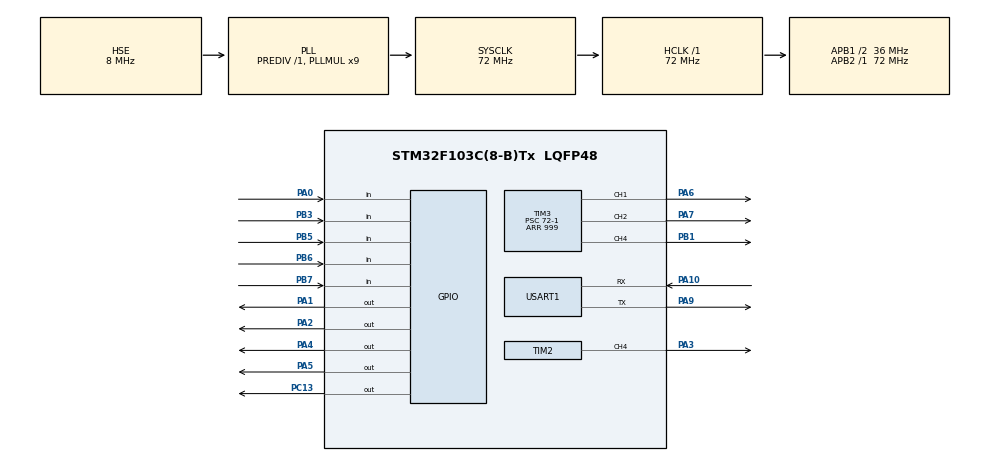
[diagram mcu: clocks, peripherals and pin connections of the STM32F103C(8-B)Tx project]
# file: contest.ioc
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Dma.Request0=USART1_RX
Dma.Request1=USART1_TX
Dma.USART1_RX.0.Direction=DMA_PERIPH_TO_MEMORY
Dma.USART1_RX.0.Instance=DMA1_Channel5
Dma.USART1_RX.0.MemDataAlignment=DMA_MDATAALIGN_BYTE
Dma.USART1_RX.0.MemInc=DMA_MINC_ENABLE
Dma.USART1_RX.0.Mode=DMA_CIRCULAR
Dma.USART1_RX.0.PeriphDataAlignment=DMA_PDATAALIGN_BYTE
Dma.USART1_RX.0.PeriphInc=DMA_PINC_DISABLE
Dma.USART1_RX.0.Priority=DMA_PRIORITY_LOW
Dma.USART1_TX.1.Direction=DMA_MEMORY_TO_PERIPH
Dma.USART1_TX.1.Instance=DMA1_Channel4
Dma.USART1_TX.1.MemDataAlignment=DMA_MDATAALIGN_BYTE
Dma.USART1_TX.1.MemInc=DMA_MINC_ENABLE
Dma.USART1_TX.1.Mode=DMA_NORMAL
Dma.USART1_TX.1.PeriphDataAlignment=DMA_PDATAALIGN_BYTE
Dma.USART1_TX.1.PeriphInc=DMA_PINC_DISABLE
Dma.USART1_TX.1.Priority=DMA_PRIORITY_LOW
Mcu.Family=STM32F1
Mcu.Name=STM32F103C(8-B)Tx
Mcu.Package=LQFP48
NVIC.DMA1_Channel4_IRQn=true\:0\:0\:false\:false\:true\:false\:true\:true
NVIC.DMA1_Channel5_IRQn=true\:0\:0\:false\:false\:true\:false\:true\:true
NVIC.PriorityGroup=NVIC_PRIORITYGROUP_4
NVIC.TIM2_IRQn=true\:0\:0\:false\:false\:true\:true\:true\:true
NVIC.TIM3_IRQn=true\:0\:0\:false\:false\:true\:true\:true\:true
NVIC.TIM4_IRQn=true\:15\:0\:false\:false\:true\:false\:true\:true
NVIC.TimeBase=TIM4_IRQn
NVIC.TimeBaseIP=TIM4
NVIC.USART1_IRQn=true\:0\:0\:false\:false\:true\:true\:true\:true
PA0-WKUP.GPIO_PuPd=GPIO_PULLUP
PA0-WKUP.Signal=GPIO_Input
PA1.GPIO_Speed=GPIO_SPEED_FREQ_HIGH
PA1.PinState=GPIO_PIN_SET
PA1.Signal=GPIO_Output
PA10.Mode=Asynchronous
PA10.Signal=USART1_RX
PA13.Mode=Serial_Wire
PA13.Signal=SYS_JTMS-SWDIO
PA14.Mode=Serial_Wire
PA14.Signal=SYS_JTCK-SWCLK
PA2.GPIO_Speed=GPIO_SPEED_FREQ_HIGH
PA2.PinState=GPIO_PIN_SET
PA2.Signal=GPIO_Output
PA3.Signal=S_TIM2_CH4
PA4.GPIO_Speed=GPIO_SPEED_FREQ_HIGH
PA4.PinState=GPIO_PIN_SET
PA4.Signal=GPIO_Output
PA5.GPIO_Speed=GPIO_SPEED_FREQ_HIGH
PA5.PinState=GPIO_PIN_SET
PA5.Signal=GPIO_Output
PA6.Signal=S_TIM3_CH1
PA7.Signal=S_TIM3_CH2
PA9.Mode=Asynchronous
PA9.Signal=USART1_TX
PB1.Signal=S_TIM3_CH4
PB3.GPIO_PuPd=GPIO_PULLDOWN
PB3.Signal=GPIO_Input
PB5.GPIO_PuPd=GPIO_PULLDOWN
PB5.Signal=GPIO_Input
PB6.GPIO_PuPd=GPIO_PULLDOWN
PB6.Signal=GPIO_Input
PB7.GPIO_PuPd=GPIO_PULLDOWN
PB7.Signal=GPIO_Input
PC13-TAMPER-RTC.PinState=GPIO_PIN_SET
PC13-TAMPER-RTC.Signal=GPIO_Output
PC14-OSC32_IN.Mode=LSE-External-Oscillator
PC14-OSC32_IN.Signal=RCC_OSC32_IN
PC15-OSC32_OUT.Mode=LSE-External-Oscillator
PC15-OSC32_OUT.Signal=RCC_OSC32_OUT
PD0-OSC_IN.Mode=HSE-External-Oscillator
PD0-OSC_IN.Signal=RCC_OSC_IN
PD1-OSC_OUT.Mode=HSE-External-Oscillator
PD1-OSC_OUT.Signal=RCC_OSC_OUT
ProjectManager.HeapSize=0x200
ProjectManager.StackSize=0x400
ProjectManager.TargetToolchain=MDK-ARM V5.32
RCC.AHBFreq_Value=72000000
RCC.APB1CLKDivider=RCC_HCLK_DIV2
RCC.APB1Freq_Value=36000000
RCC.APB1TimFreq_Value=72000000
RCC.APB2Freq_Value=72000000
RCC.APB2TimFreq_Value=72000000
RCC.HCLKFreq_Value=72000000
RCC.PLLMUL=RCC_PLL_MUL9
RCC.PLLSourceVirtual=RCC_PLLSOURCE_HSE
RCC.SYSCLKFreq_VALUE=72000000
RCC.SYSCLKSource=RCC_SYSCLKSOURCE_PLLCLK
RCC.USBFreq_Value=72000000
SH.S_TIM2_CH4.0=TIM2_CH4,PWM Generation4 CH4
SH.S_TIM3_CH1.0=TIM3_CH1,PWM Generation1 CH1
SH.S_TIM3_CH2.0=TIM3_CH2,PWM Generation2 CH2
SH.S_TIM3_CH4.0=TIM3_CH4,PWM Generation4 CH4
TIM2.AutoReloadPreload=TIM_AUTORELOAD_PRELOAD_DISABLE
TIM2.Channel-PWM\ Generation4\ CH4=TIM_CHANNEL_4
TIM2.Period=999
TIM2.Prescaler=71
TIM2.Pulse-PWM\ Generation4\ CH4=500
TIM3.AutoReloadPreload=TIM_AUTORELOAD_PRELOAD_DISABLE
TIM3.Channel-PWM\ Generation1\ CH1=TIM_CHANNEL_1
TIM3.Channel-PWM\ Generation2\ CH2=TIM_CHANNEL_2
TIM3.Channel-PWM\ Generation4\ CH4=TIM_CHANNEL_4
TIM3.Period=999
TIM3.Prescaler=72-1
TIM3.Pulse-PWM\ Generation4\ CH4=500
USART1.VirtualMode=VM_ASYNC
VP_SYS_VS_tim4.Mode=TIM4
VP_TIM2_VS_ClockSourceINT.Mode=Internal
VP_TIM3_VS_ClockSourceINT.Mode=Internal
board=custom

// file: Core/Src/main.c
/* USER CODE BEGIN Header */
/**
  ******************************************************************************
  * @file           : main.c
  * @brief          : Main program body
  ******************************************************************************
  * @attention
  *
  * Copyright (c) 2025 STMicroelectronics.
  * All rights reserved.
  *
  * This software is licensed under terms that can be found in the LICENSE file
  * in the root directory of this software component.
  * If no LICENSE file comes with this software, it is provided AS-IS.
  *
  ******************************************************************************
  */
/* USER CODE END Header */
#include "main.h"
#include "dma.h"
#include "tim.h"
#include "usart.h"
#include "gpio.h"

/* USER CODE BEGIN Includes */
#include "global.h"
#include "FreeRTOSConfig.h"
#include "FreeRTOS.h"
#include "task.h"
#include "semphr.h"
#include <stdio.h>
#include "math.h"
#include <stdarg.h>
#include <string.h>
#include "filter.h"
#include "servo.h"
#include "stm32f1xx_hal.h"
#include "oled.h"
#include "usart.h"
#include "mpu6050.h"
#include "imu.h"
#include "motor.h"
#include "pid.h"
#include "mutex_lock_and_message_queue.h"
#include "data_protocol.h"
#include "eletube.h"
#include "timer.h"
#include <stdbool.h>
#include "keys.h"

/* USER CODE END Includes */

/* USER CODE BEGIN PV */

// 定义机器人状态互斥锁实例
CustomMutex_t robot_state_mutex = {
    .locked = 0,
    .owner = NULL,
    .name = "robot_state_mutex",
    .lock_count = 0
};

// 定义导航指令消息队列（缓冲区大小为5个消息）
NavCmd_t nav_queue_buffer[NAV_QUEUE_SIZE];  // 消息缓冲区
CustomQueue_t nav_cmd_queue;                // 导航指令队列实例

/* USER CODE END PV */

void SystemClock_Config(void);
/* USER CODE BEGIN PFP */
void debug_printf(const char *fmt, ...);
/* USER CODE END PFP */

/* USER CODE BEGIN 0 */

TaskHandle_t  led1_TaskHandle_t;
TaskHandle_t  led2_TaskHandle_t;
TaskHandle_t  filter_TaskHandle_t;
TaskHandle_t  servo_TaskHandle_t;
TaskHandle_t  oled_TaskHandle_t;
TaskHandle_t  usart_TaskHandle_t;
TaskHandle_t  mpu6050_TaskHandle_t;
TaskHandle_t  motor_TaskHandle_t;
TaskHandle_t  decision_TaskHandle_t;
TaskHandle_t  state_update_TaskHandle_t;
TaskHandle_t  openmv_TaskHandle_t;
TaskHandle_t  eletube_TaskHandle_t;
TaskHandle_t  debug_send_TaskHandle_t;

/* 在全局变量区域添加 */
//SemaphoreHandle_t xSensorMutex;  // 传感器数据互斥锁
//float pitch, roll, yaw;
//RobotState_t g_robot_state = {0};
//SemaphoreHandle_t xStateMutex;

//void led1_task() {
//	while(1){
//		HAL_GPIO_TogglePin(GPIOA, GPIO_PIN_8);
//		vTaskDelay(1000);
//	}
//}

//void led2_task(){
//	while(1){
//		HAL_GPIO_TogglePin(GPIOA, GPIO_PIN_15);
//		vTaskDelay(2000);
//	}
//}

//Filter_t Data_Filter = {0.8,0,0};

//AVG_Flt_t AVG_Filter;

//MEDIAN_Flt_t MEDIAN_Filter;

////FIR_Flt_t FIR_Filter;

//Klm_Flt_t KLM_Filter =
//{
//	0.02,//估算协方差
//	0,//卡尔曼增益
//	0.001,//过程噪声协方差，Q增大，动态响应变快，收敛稳定性变坏
//	0.1,//测量噪声协方差，R增大，动态响应变慢，收敛稳定性变好
//	0//卡尔曼滤波输出
//};

//double Data;
//double Result;
//double t;
//double Test;

//void filter_task(){
//	//低通滤波测试
//	while(1){
//		Data = sin(t)+0.1*sin(50*t);
//		Result = Low_Pass_Filter(&Data_Filter,Data);
//		t+=0.01;
//		while(huart1.gState != HAL_UART_STATE_READY) {
//			vTaskDelay(1); // 在FreeRTOS中让出CPU
//		}
//	debug_printf("%.3f,%.3f\n",Data,Result);
//		vTaskDelay(50);
//	}
//

//	//滑动均值滤波测试
//	while(1){
//		Data = sin(t)+0.1*sin(50*t);
////		Data = sin(t);
////		if((int)(t*100)%100 == 0){
////			Data = sin(t) + 2 * sin(50 * t);
////		}
//		Result = Average_Filter(&AVG_Filter,Data);
//		t += 0.01;
//		debug_printf("%.3f,%.3f\n",Data,Result);
//		vTaskDelay(50);
//	}

////中值滤波测试
//while(1){
////		Data = sin(t) + 0.1 * sin(50 * t);
//		Data = sin(t);
//		if((int)(t*100)%100 == 0){
//			Data = sin(t) + 2 * sin(50 * t);
//		}
//		Result = Median_Filter(&MEDIAN_Filter,Data);
//		t += 0.01;
//		debug_printf("%.3f,%.3f\n",Data,Result);
//		vTaskDelay(50);
//	}

////带通滤波测试
//FIR_Filter.Fs = 10000;
//FIR_Filter.Fc1 = 500;
//FIR_Filter.Fc2 = 1500;
//FIRBandPassFilter_Init(&FIR_Filter);
//while(1){
//	Data = sin(2000*PI*t)+sin(4000*PI*t);
//	Test = sin(2000*PI*t);
//	Result = FIR_BandPass_Filter(&FIR_Filter,Data);
//	t += 0.01;
//	debug_printf("%.3f,%.3f\n",Data,Result);
//	vTaskDelay(50);
//}

////卡尔曼滤波测试
//while(1){
//	Data = sin(200*PI*t)+sin(2000*PI*t)+sin(4000*PI*t);
//	Test = sin(2000*PI*t);
//	Result = Median_Filter(&MEDIAN_Filter,Data);
//	t += 0.0001;
////	debug_printf("%.3f,%.3f\n",Data,Result);
//	vTaskDelay(50);
//	}

//}

//SystemState current_state = STATE_IDLE;
//void servo_task(){
//
//		// 启动PWM
//		HAL_TIM_PWM_Start(&htim3, TIM_CHANNEL_1);
//		HAL_TIM_PWM_Start(&htim3, TIM_CHANNEL_2);
//
//		// 初始复位
//		Reset_Position();
//
//    while(1) {
//			switch (current_state) {
//      case STATE_RESET:
//        Reset_Position();
//        current_state = STATE_IDLE;
//        break;
//
//      case STATE_SQUARE_MOVE:
//        Move_Square_Path();
//        current_state = STATE_IDLE;
//        break;
//
//      case STATE_CUSTOM_PATH:
//        // 此处添加自定义路径数据
//        // Move_Custom_Path(custom_path, path_points);
//        current_state = STATE_IDLE;
//        break;
//
//      case STATE_IDLE:
//      default:
//
//        vTaskDelay(100); // 调整延时控制变化速度
//			 break;
//			}
//    }
//}

///* 修改 oled_task 函数 */
//void oled_task() {
//    char displayBuffer[64];  // 显示缓冲区
//
//    while(1) {
//        // 使用互斥锁获取传感器数据
////        if(xSemaphoreTake(xSensorMutex, portMAX_DELAY) == pdTRUE) {
////            for(int i = 0; i < 3; i++) {
////                accel[i] = g_accel[i];
////                gyro[i] = g_gyro[i];
////            }
////            xSemaphoreGive(xSensorMutex);
////        }
//
//        // 清屏
//        OLED_FullyClear();
//
//        // 显示陀螺仪数据
//        snprintf(displayBuffer, sizeof(displayBuffer), "pitch:%.2f", Att_Angle.pitch);
//        OLED_ShowStr(0, 0, (unsigned char *)displayBuffer, 2);
//
//        snprintf(displayBuffer, sizeof(displayBuffer), "roll:%.2f", Att_Angle.roll);
//        OLED_ShowStr(0, 3, (unsigned char *)displayBuffer, 2);
//
//        snprintf(displayBuffer, sizeof(displayBuffer), "yaw:%.2f", Att_Angle.yaw);
//        OLED_ShowStr(0, 6, (unsigned char *)displayBuffer, 2);
//
//        vTaskDelay(200); // OLED刷新率控制
//    }
//}

void usart_task(){
	while (1){
			if(!keyflag){
				key1();
				key2();
				key3();
				key4();
			}
			vTaskDelay(10);
  }
}

int position;
int task1_cnt = 0;
uint8_t task1_path_cnt = 0;
uint8_t task1_flag = 0;
Point2D_t start,end;
Angles_t path[INTERPOLATION_STEPS];
void motor_task(void) {
    while(1) {
				if(task1_flag){
						if(!motor_x.is_moving&&!motor_y.is_moving){
							Move_Angle_Global(&motor_x,path[task1_path_cnt].yaw,1000);
							Move_Angle_Global(&motor_y,path[task1_path_cnt].pitch,1000);
							task1_path_cnt++;
						}
						if(task1_path_cnt==INTERPOLATION_STEPS)
								task1_flag = 0;
				}
				vTaskDelay(10);
    }

}

void decision_task(void) {
    while(1) {
				if(keyflag && (HAL_GPIO_ReadPin(GPIOB,GPIO_PIN_6)==GPIO_PIN_SET)){
						vTaskDelay(100);
						if(HAL_GPIO_ReadPin(GPIOB,GPIO_PIN_6)==GPIO_PIN_SET){
										if(task1_cnt==5){
												task1_cnt=0;
										}
										while(task1_cnt!=5){
											if(!motor_x.is_moving&&!motor_y.is_moving&&!task1_flag){
													task1_path_cnt = 0;
													if(task1_cnt==0){
													start.x = target_x[4];
													start.y = target_y[4];
													end.x = target_x[0];
													end.y = target_y[0];
													generate_linear_path(start,end,path);
													}else{
															start.x = target_x[task1_cnt-1];
															start.y = target_y[task1_cnt-1];
															end.x = target_x[task1_cnt];
															end.y = target_y[task1_cnt];
															generate_linear_path(start,end,path);
													}
													task1_cnt++;
													task1_flag = 1;
											}
											vTaskDelay(10);
									}
						}
				}

				vTaskDelay(10);
    }

}

//// 全局调试信息变量
//DebugInfo_t g_debug_info;
//CustomMutex_t debug_info_mutex = {.locked = 0,.owner = NULL,.name = "debug_info_mutex",.lock_count = 0};

//void debug_send_task(void) {
//    const TickType_t xPeriod = pdMS_TO_TICKS(500); // 发送周期
//    TickType_t xLastWakeTime = xTaskGetTickCount();
//
//    while(1) {
//        DebugInfo_t local_info;
//
//        // 安全复制调试信息
//        CustomMutex_Lock(&debug_info_mutex);
//        memcpy(&local_info, &g_debug_info, sizeof(DebugInfo_t));
//        CustomMutex_Unlock(&debug_info_mutex);
//
//        // 发送调试信息
//        debug_printf("%lu,%.2f,%.2f,%.2f,%.2f\n",
//                     local_info.timestamp,
//                     local_info.target_angle,
//                     local_info.current_yaw,
//                     local_info.angle_adjust,
//                     local_info.base_speed);
//
//        // 精确延迟
//        vTaskDelayUntil(&xLastWakeTime, xPeriod);
//    }
//}

/* USER CODE END 0 */

int main(void)
{

  /* MCU Configuration--------------------------------------------------------*/

  /* Reset of all peripherals, Initializes the Flash interface and the Systick. */
  HAL_Init();

  /* Configure the system clock */
  SystemClock_Config();

  /* Initialize all configured peripherals */
  MX_GPIO_Init();
  MX_DMA_Init();
  MX_USART1_UART_Init();
  MX_TIM3_Init();
  MX_TIM2_Init();
  /* USER CODE BEGIN 2 */

	// 步进电机系统初始化
//	// 初始化自定义消息队列（导航指令队列）
//CustomQueue_Init(&nav_cmd_queue,
//                nav_queue_buffer,
//                sizeof(NavCmd_t),
//                NAV_QUEUE_SIZE,
//                "nav_cmd_queue");
//
//	OLED_Init();
//	HAL_TIM_PWM_Start(&htim1, TIM_CHANNEL_1);
//	uart_init();
//	MPU6050_Init();
//	motorInit();
//	xTaskCreate((TaskFunction_t )led1_task,
//					(const char*    )"led1_task",
//					(uint16_t       )128,
//					(void*          )NULL,
//					(UBaseType_t    )1,
//					(TaskHandle_t*  )&led1_TaskHandle_t);
//	xTaskCreate((TaskFunction_t )led2_task,
//					(const char*    )"led2_task",
//					(uint16_t       )128,
//					(void*          )NULL,
//					(UBaseType_t    )1,
//					(TaskHandle_t*  )&led2_TaskHandle_t);
//	xTaskCreate((TaskFunction_t )filter_task,
//					(const char*    )"filter_task",
//					(uint16_t       )128,
//					(void*          )NULL,
//					(UBaseType_t    )1,
//					(TaskHandle_t*  )&filter_TaskHandle_t);
// 	xTaskCreate((TaskFunction_t )servo_task,
//					(const char*    )"servo_task",
//					(uint16_t       )128,
//					(void*          )NULL,
//					(UBaseType_t    )1,
//					(TaskHandle_t*  )&servo_TaskHandle_t);
	xTaskCreate((TaskFunction_t )decision_task,
					(const char*    )"decision_task",
					(uint16_t       )256,
					(void*          )NULL,
					(UBaseType_t    )1,
					(TaskHandle_t*  )&decision_TaskHandle_t);
	xTaskCreate((TaskFunction_t )usart_task,
					(const char*    )"usart_task",
					(uint16_t       )128,
					(void*          )NULL,
					(UBaseType_t    )1,
					(TaskHandle_t*  )&usart_TaskHandle_t);
	xTaskCreate((TaskFunction_t )motor_task,
					(const char*    )"motor_task",
					(uint16_t       )256,
					(void*          )NULL,
					(UBaseType_t    )1,
					(TaskHandle_t*  )&motor_TaskHandle_t);
//	xTaskCreate((TaskFunction_t )debug_send_task,
//					(const char*    )"debug_send_task",
//					(uint16_t       )128,  //
//					(void*          )NULL,
//					(UBaseType_t    )3,    // 中等优先级
//					(TaskHandle_t*  )&debug_send_TaskHandle_t);

	vTaskStartScheduler();
  /* USER CODE END 2 */

  /* Infinite loop */
  while (1)
  {

  }
}

void SystemClock_Config(void)
{
  RCC_OscInitTypeDef RCC_OscInitStruct = {0};
  RCC_ClkInitTypeDef RCC_ClkInitStruct = {0};

  /** Initializes the RCC Oscillators according to the specified parameters
  * in the RCC_OscInitTypeDef structure.
  */
  RCC_OscInitStruct.OscillatorType = RCC_OSCILLATORTYPE_HSE;
  RCC_OscInitStruct.HSEState = RCC_HSE_ON;
  RCC_OscInitStruct.HSEPredivValue = RCC_HSE_PREDIV_DIV1;
  RCC_OscInitStruct.HSIState = RCC_HSI_ON;
  RCC_OscInitStruct.PLL.PLLState = RCC_PLL_ON;
  RCC_OscInitStruct.PLL.PLLSource = RCC_PLLSOURCE_HSE;
  RCC_OscInitStruct.PLL.PLLMUL = RCC_PLL_MUL9;
  if (HAL_RCC_OscConfig(&RCC_OscInitStruct) != HAL_OK)
  {
    Error_Handler();
  }

  /** Initializes the CPU, AHB and APB buses clocks
  */
  RCC_ClkInitStruct.ClockType = RCC_CLOCKTYPE_HCLK|RCC_CLOCKTYPE_SYSCLK
                              |RCC_CLOCKTYPE_PCLK1|RCC_CLOCKTYPE_PCLK2;
  RCC_ClkInitStruct.SYSCLKSource = RCC_SYSCLKSOURCE_PLLCLK;
  RCC_ClkInitStruct.AHBCLKDivider = RCC_SYSCLK_DIV1;
  RCC_ClkInitStruct.APB1CLKDivider = RCC_HCLK_DIV2;
  RCC_ClkInitStruct.APB2CLKDivider = RCC_HCLK_DIV1;

  if (HAL_RCC_ClockConfig(&RCC_ClkInitStruct, FLASH_LATENCY_2) != HAL_OK)
  {
    Error_Handler();
  }
}

/* USER CODE BEGIN 4 */

//// 按键中断处理
//void HAL_GPIO_EXTI_Callback(uint16_t GPIO_Pin) {
//  if (GPIO_Pin == GPIO_PIN_0) {
//    static uint8_t press_count = 0;
//    press_count = (press_count + 1) % 3;
//
//    switch (press_count) {
//      case 0: current_state = STATE_RESET; break;
//      case 1: current_state = STATE_SQUARE_MOVE; break;
//      case 2: current_state = STATE_CUSTOM_PATH; break;
//    }
//  }
//}

// 堆分配失败钩子
void vApplicationMallocFailedHook(void) {
    while(1) {
        // 内存分配失败处理
    }
}

// 堆栈溢出钩子
void vApplicationStackOverflowHook(TaskHandle_t xTask, char *pcTaskName) {
    (void)xTask;
    (void)pcTaskName;
    while(1) {
        // 堆栈溢出处理
    }
}

// 空闲任务钩子
void vApplicationIdleHook(void) {
    // 可添加低功耗代码
}

/* USER CODE END 4 */

void HAL_TIM_PeriodElapsedCallback(TIM_HandleTypeDef *htim)
{
  if (htim->Instance == TIM4) {
    HAL_IncTick();
  }
  /* USER CODE BEGIN Callback 1 */
	if (htim == motor_x.timer && motor_x.step_count < motor_x.step_target) {
			motor_x.step_count++;
			if(motor_x.direction)
				motor_x.step_sum--;
			else
				motor_x.step_sum++;
			if (motor_x.step_count == motor_x.step_target) {
					motor_x.is_moving = 0;
					motor_x.current_angle = motor_x.step_angle*motor_x.step_sum;
					HAL_TIM_PWM_Stop_IT(motor_x.timer, motor_x.timer_channel);
			}
	}
		if (htim == motor_y.timer && motor_y.step_count < motor_y.step_target) {
			motor_y.step_count++;
			if(motor_y.direction)
				motor_y.step_sum--;
			else
				motor_y.step_sum++;
			if (motor_y.step_count == motor_y.step_target) {
					motor_y.is_moving = 0;
					motor_y.current_angle = motor_y.step_angle*motor_y.step_sum;
					HAL_TIM_PWM_Stop_IT(motor_y.timer, motor_y.timer_channel);
			}
	}
  /* USER CODE END Callback 1 */
}

void Error_Handler(void)
{
  __disable_irq();
  while (1)
  {
  }
}
